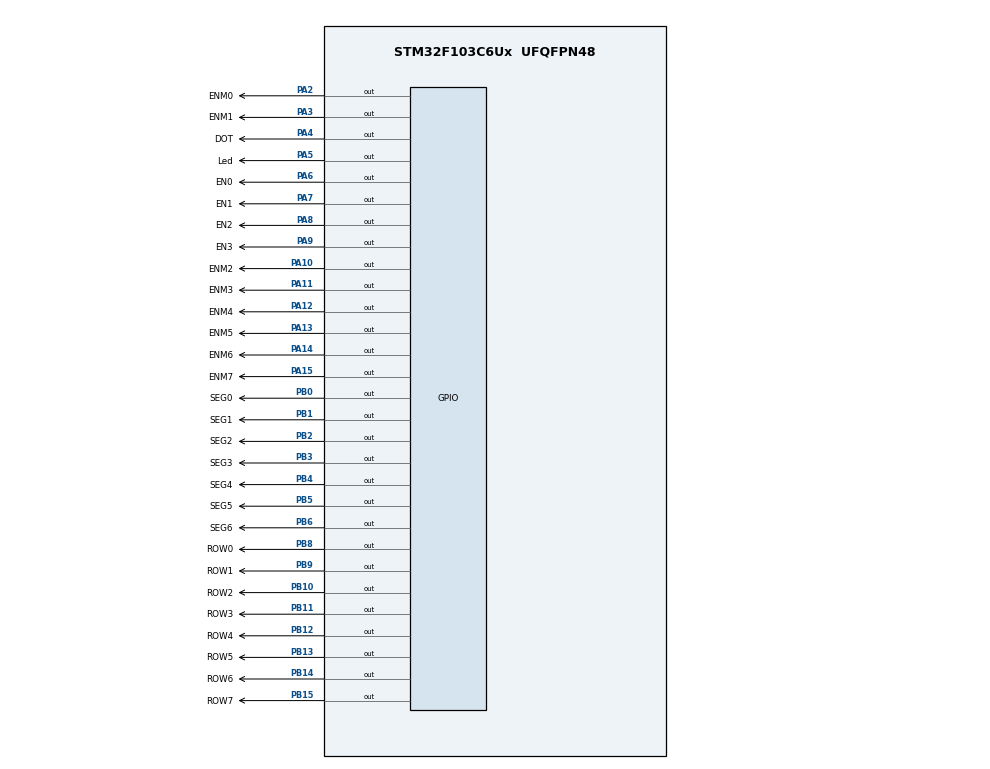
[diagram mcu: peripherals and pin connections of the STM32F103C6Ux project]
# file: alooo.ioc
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Mcu.Family=STM32F1
Mcu.Name=STM32F103C6Ux
Mcu.Package=UFQFPN48
NVIC.PriorityGroup=NVIC_PRIORITYGROUP_4
NVIC.TIM2_IRQn=true\:0\:0\:false\:false\:true\:true\:true
PA10.GPIO_Label=ENM2
PA10.Signal=GPIO_Output
PA11.GPIO_Label=ENM3
PA11.Signal=GPIO_Output
PA12.GPIO_Label=ENM4
PA12.Signal=GPIO_Output
PA13.GPIO_Label=ENM5
PA13.Signal=GPIO_Output
PA14.GPIO_Label=ENM6
PA14.Signal=GPIO_Output
PA15.GPIO_Label=ENM7
PA15.Signal=GPIO_Output
PA2.GPIO_Label=ENM0
PA2.Signal=GPIO_Output
PA3.GPIO_Label=ENM1
PA3.Signal=GPIO_Output
PA4.GPIO_Label=DOT
PA4.Signal=GPIO_Output
PA5.GPIO_Label=Led
PA5.Signal=GPIO_Output
PA6.GPIO_Label=EN0
PA6.Signal=GPIO_Output
PA7.GPIO_Label=EN1
PA7.Signal=GPIO_Output
PA8.GPIO_Label=EN2
PA8.Signal=GPIO_Output
PA9.GPIO_Label=EN3
PA9.Signal=GPIO_Output
PB0.GPIO_Label=SEG0
PB0.Signal=GPIO_Output
PB1.GPIO_Label=SEG1
PB1.Signal=GPIO_Output
PB10.GPIO_Label=ROW2
PB10.Signal=GPIO_Output
PB11.GPIO_Label=ROW3
PB11.Signal=GPIO_Output
PB12.GPIO_Label=ROW4
PB12.Signal=GPIO_Output
PB13.GPIO_Label=ROW5
PB13.Signal=GPIO_Output
PB14.GPIO_Label=ROW6
PB14.Signal=GPIO_Output
PB15.GPIO_Label=ROW7
PB15.Signal=GPIO_Output
PB2.GPIO_Label=SEG2
PB2.Signal=GPIO_Output
PB3.GPIO_Label=SEG3
PB3.Signal=GPIO_Output
PB4.GPIO_Label=SEG4
PB4.Signal=GPIO_Output
PB5.GPIO_Label=SEG5
PB5.Signal=GPIO_Output
PB6.GPIO_Label=SEG6
PB6.Signal=GPIO_Output
PB8.GPIO_Label=ROW0
PB8.Signal=GPIO_Output
PB9.GPIO_Label=ROW1
PB9.Signal=GPIO_Output
ProjectManager.HeapSize=0x200
ProjectManager.StackSize=0x400
ProjectManager.TargetToolchain=STM32CubeIDE
RCC.APB1Freq_Value=8000000
RCC.APB2Freq_Value=8000000
TIM2.Period=9
TIM2.Prescaler=7999
VP_SYS_VS_ND.Mode=No_Debug
VP_TIM2_VS_ClockSourceINT.Mode=Internal
board=custom

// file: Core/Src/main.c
/* USER CODE BEGIN Header */
/**
  ******************************************************************************
  * @file           : main.c
  * @brief          : Main program body
  ******************************************************************************
  * @attention
  *
  * <h2><center>&copy; Copyright (c) 2026 STMicroelectronics.
  * All rights reserved.</center></h2>
  *
  * This software component is licensed by ST under BSD 3-Clause license,
  * the "License"; You may not use this file except in compliance with the
  * License. You may obtain a copy of the License at:
  *                        opensource.org/licenses/BSD-3-Clause
  *
  ******************************************************************************
  */
/* USER CODE END Header */
#include "main.h"

TIM_HandleTypeDef htim2;

void SystemClock_Config(void);
static void MX_GPIO_Init(void);
static void MX_TIM2_Init(void);

/* USER CODE BEGIN 0 */

void display7SEG(int num) {
    HAL_GPIO_WritePin(SEG0_GPIO_Port, SEG0_Pin, GPIO_PIN_SET);
    HAL_GPIO_WritePin(SEG1_GPIO_Port, SEG1_Pin, GPIO_PIN_SET);
    HAL_GPIO_WritePin(SEG2_GPIO_Port, SEG2_Pin, GPIO_PIN_SET);
    HAL_GPIO_WritePin(SEG3_GPIO_Port, SEG3_Pin, GPIO_PIN_SET);
    HAL_GPIO_WritePin(SEG4_GPIO_Port, SEG4_Pin, GPIO_PIN_SET);
    HAL_GPIO_WritePin(SEG5_GPIO_Port, SEG5_Pin, GPIO_PIN_SET);
    HAL_GPIO_WritePin(SEG6_GPIO_Port, SEG6_Pin, GPIO_PIN_SET);

    switch (num) {
        case 0:
            HAL_GPIO_WritePin(SEG0_GPIO_Port, SEG0_Pin, GPIO_PIN_RESET);
            HAL_GPIO_WritePin(SEG1_GPIO_Port, SEG1_Pin, GPIO_PIN_RESET);
            HAL_GPIO_WritePin(SEG2_GPIO_Port, SEG2_Pin, GPIO_PIN_RESET);
            HAL_GPIO_WritePin(SEG3_GPIO_Port, SEG3_Pin, GPIO_PIN_RESET);
            HAL_GPIO_WritePin(SEG4_GPIO_Port, SEG4_Pin, GPIO_PIN_RESET);
            HAL_GPIO_WritePin(SEG5_GPIO_Port, SEG5_Pin, GPIO_PIN_RESET);
            break;

        case 1:
            HAL_GPIO_WritePin(SEG1_GPIO_Port, SEG1_Pin, GPIO_PIN_RESET);
            HAL_GPIO_WritePin(SEG2_GPIO_Port, SEG2_Pin, GPIO_PIN_RESET);
            break;

        case 2:
            HAL_GPIO_WritePin(SEG0_GPIO_Port, SEG0_Pin, GPIO_PIN_RESET);
            HAL_GPIO_WritePin(SEG1_GPIO_Port, SEG1_Pin, GPIO_PIN_RESET);
            HAL_GPIO_WritePin(SEG3_GPIO_Port, SEG3_Pin, GPIO_PIN_RESET);
            HAL_GPIO_WritePin(SEG4_GPIO_Port, SEG4_Pin, GPIO_PIN_RESET);
            HAL_GPIO_WritePin(SEG6_GPIO_Port, SEG6_Pin, GPIO_PIN_RESET);
            break;

        case 3:
            HAL_GPIO_WritePin(SEG0_GPIO_Port, SEG0_Pin, GPIO_PIN_RESET);
            HAL_GPIO_WritePin(SEG1_GPIO_Port, SEG1_Pin, GPIO_PIN_RESET);
            HAL_GPIO_WritePin(SEG2_GPIO_Port, SEG2_Pin, GPIO_PIN_RESET);
            HAL_GPIO_WritePin(SEG3_GPIO_Port, SEG3_Pin, GPIO_PIN_RESET);
            HAL_GPIO_WritePin(SEG6_GPIO_Port, SEG6_Pin, GPIO_PIN_RESET);
            break;

        case 4:
            HAL_GPIO_WritePin(SEG1_GPIO_Port, SEG1_Pin, GPIO_PIN_RESET);
            HAL_GPIO_WritePin(SEG2_GPIO_Port, SEG2_Pin, GPIO_PIN_RESET);
            HAL_GPIO_WritePin(SEG5_GPIO_Port, SEG5_Pin, GPIO_PIN_RESET);
            HAL_GPIO_WritePin(SEG6_GPIO_Port, SEG6_Pin, GPIO_PIN_RESET);
            break;

        case 5:
            HAL_GPIO_WritePin(SEG0_GPIO_Port, SEG0_Pin, GPIO_PIN_RESET);
            HAL_GPIO_WritePin(SEG2_GPIO_Port, SEG2_Pin, GPIO_PIN_RESET);
            HAL_GPIO_WritePin(SEG3_GPIO_Port, SEG3_Pin, GPIO_PIN_RESET);
            HAL_GPIO_WritePin(SEG5_GPIO_Port, SEG5_Pin, GPIO_PIN_RESET);
            HAL_GPIO_WritePin(SEG6_GPIO_Port, SEG6_Pin, GPIO_PIN_RESET);
            break;

        case 6:
            HAL_GPIO_WritePin(SEG0_GPIO_Port, SEG0_Pin, GPIO_PIN_RESET);
            HAL_GPIO_WritePin(SEG2_GPIO_Port, SEG2_Pin, GPIO_PIN_RESET);
            HAL_GPIO_WritePin(SEG3_GPIO_Port, SEG3_Pin, GPIO_PIN_RESET);
            HAL_GPIO_WritePin(SEG4_GPIO_Port, SEG4_Pin, GPIO_PIN_RESET);
            HAL_GPIO_WritePin(SEG5_GPIO_Port, SEG5_Pin, GPIO_PIN_RESET);
            HAL_GPIO_WritePin(SEG6_GPIO_Port, SEG6_Pin, GPIO_PIN_RESET);
            break;

        case 7:
            HAL_GPIO_WritePin(SEG0_GPIO_Port, SEG0_Pin, GPIO_PIN_RESET);
            HAL_GPIO_WritePin(SEG1_GPIO_Port, SEG1_Pin, GPIO_PIN_RESET);
            HAL_GPIO_WritePin(SEG2_GPIO_Port, SEG2_Pin, GPIO_PIN_RESET);
            break;

        case 8:
            HAL_GPIO_WritePin(SEG0_GPIO_Port, SEG0_Pin, GPIO_PIN_RESET);
            HAL_GPIO_WritePin(SEG1_GPIO_Port, SEG1_Pin, GPIO_PIN_RESET);
            HAL_GPIO_WritePin(SEG2_GPIO_Port, SEG2_Pin, GPIO_PIN_RESET);
            HAL_GPIO_WritePin(SEG3_GPIO_Port, SEG3_Pin, GPIO_PIN_RESET);
            HAL_GPIO_WritePin(SEG4_GPIO_Port, SEG4_Pin, GPIO_PIN_RESET);
            HAL_GPIO_WritePin(SEG5_GPIO_Port, SEG5_Pin, GPIO_PIN_RESET);
            HAL_GPIO_WritePin(SEG6_GPIO_Port, SEG6_Pin, GPIO_PIN_RESET);
            break;

        case 9:
            HAL_GPIO_WritePin(SEG0_GPIO_Port, SEG0_Pin, GPIO_PIN_RESET);
            HAL_GPIO_WritePin(SEG1_GPIO_Port, SEG1_Pin, GPIO_PIN_RESET);
            HAL_GPIO_WritePin(SEG2_GPIO_Port, SEG2_Pin, GPIO_PIN_RESET);
            HAL_GPIO_WritePin(SEG3_GPIO_Port, SEG3_Pin, GPIO_PIN_RESET);
            HAL_GPIO_WritePin(SEG5_GPIO_Port, SEG5_Pin, GPIO_PIN_RESET);
            HAL_GPIO_WritePin(SEG6_GPIO_Port, SEG6_Pin, GPIO_PIN_RESET);
            break;

        default:
            break;
    }
}

const int MAX_LED = 4;
int index_led = 0;
int led_buffer[4] = {0, 0, 0, 0};

void update7SEG(int index) {
	HAL_GPIO_WritePin(EN0_GPIO_Port, EN0_Pin, GPIO_PIN_SET);
	HAL_GPIO_WritePin(EN1_GPIO_Port, EN1_Pin, GPIO_PIN_SET);
	HAL_GPIO_WritePin(EN2_GPIO_Port, EN2_Pin, GPIO_PIN_SET);
	HAL_GPIO_WritePin(EN3_GPIO_Port, EN3_Pin, GPIO_PIN_SET);
    switch (index) {
        case 0:
            display7SEG(led_buffer[0]);
            HAL_GPIO_WritePin(EN0_GPIO_Port, EN0_Pin, GPIO_PIN_RESET);
            break;
        case 1:
            display7SEG(led_buffer[1]);
            HAL_GPIO_WritePin(EN1_GPIO_Port, EN1_Pin, GPIO_PIN_RESET);
            break;
        case 2:
            display7SEG(led_buffer[2]);
            HAL_GPIO_WritePin(EN2_GPIO_Port, EN2_Pin, GPIO_PIN_RESET);
            break;
        case 3:
            display7SEG(led_buffer[3]);
            HAL_GPIO_WritePin(EN3_GPIO_Port, EN3_Pin, GPIO_PIN_RESET);
            break;
        default:
            break;
    }
}

const int MAX_LED_MATRIX = 8;
int index_led_matrix = 0;
uint8_t matrix_buffer[8] = {0x3C, 0x42, 0x42, 0x81, 0x81, 0xFF, 0x81, 0x81};

void setRow(int col){
	HAL_GPIO_WritePin(ROW0_GPIO_Port, ROW0_Pin, (matrix_buffer[col] & 0x01) ? GPIO_PIN_RESET : GPIO_PIN_SET);
	HAL_GPIO_WritePin(ROW1_GPIO_Port, ROW1_Pin, (matrix_buffer[col] & 0x02) ? GPIO_PIN_RESET : GPIO_PIN_SET);
	HAL_GPIO_WritePin(ROW2_GPIO_Port, ROW2_Pin, (matrix_buffer[col] & 0x04) ? GPIO_PIN_RESET : GPIO_PIN_SET);
	HAL_GPIO_WritePin(ROW3_GPIO_Port, ROW3_Pin, (matrix_buffer[col] & 0x08) ? GPIO_PIN_RESET : GPIO_PIN_SET);
	HAL_GPIO_WritePin(ROW4_GPIO_Port, ROW4_Pin, (matrix_buffer[col] & 0x10) ? GPIO_PIN_RESET : GPIO_PIN_SET);
	HAL_GPIO_WritePin(ROW5_GPIO_Port, ROW5_Pin, (matrix_buffer[col] & 0x20) ? GPIO_PIN_RESET : GPIO_PIN_SET);
	HAL_GPIO_WritePin(ROW6_GPIO_Port, ROW6_Pin, (matrix_buffer[col] & 0x40) ? GPIO_PIN_RESET : GPIO_PIN_SET);
	HAL_GPIO_WritePin(ROW7_GPIO_Port, ROW7_Pin, (matrix_buffer[col] & 0x80) ? GPIO_PIN_RESET : GPIO_PIN_SET);
}

void updateLEDMatrix(int index){
	HAL_GPIO_WritePin(ENM0_GPIO_Port, ENM0_Pin, GPIO_PIN_SET);
	HAL_GPIO_WritePin(ENM1_GPIO_Port, ENM1_Pin, GPIO_PIN_SET);
	HAL_GPIO_WritePin(ENM2_GPIO_Port, ENM2_Pin, GPIO_PIN_SET);
	HAL_GPIO_WritePin(ENM3_GPIO_Port, ENM3_Pin, GPIO_PIN_SET);
	HAL_GPIO_WritePin(ENM4_GPIO_Port, ENM4_Pin, GPIO_PIN_SET);
	HAL_GPIO_WritePin(ENM5_GPIO_Port, ENM5_Pin, GPIO_PIN_SET);
	HAL_GPIO_WritePin(ENM6_GPIO_Port, ENM6_Pin, GPIO_PIN_SET);
	HAL_GPIO_WritePin(ENM7_GPIO_Port, ENM7_Pin, GPIO_PIN_SET);

	setRow(index);

	switch (index) {
		case 0: HAL_GPIO_WritePin(ENM0_GPIO_Port, ENM0_Pin, GPIO_PIN_RESET); break;
		case 1: HAL_GPIO_WritePin(ENM1_GPIO_Port, ENM1_Pin, GPIO_PIN_RESET); break;
		case 2: HAL_GPIO_WritePin(ENM2_GPIO_Port, ENM2_Pin, GPIO_PIN_RESET); break;
		case 3: HAL_GPIO_WritePin(ENM3_GPIO_Port, ENM3_Pin, GPIO_PIN_RESET); break;
		case 4: HAL_GPIO_WritePin(ENM4_GPIO_Port, ENM4_Pin, GPIO_PIN_RESET); break;
		case 5: HAL_GPIO_WritePin(ENM5_GPIO_Port, ENM5_Pin, GPIO_PIN_RESET); break;
		case 6: HAL_GPIO_WritePin(ENM6_GPIO_Port, ENM6_Pin, GPIO_PIN_RESET); break;
		case 7: HAL_GPIO_WritePin(ENM7_GPIO_Port, ENM7_Pin, GPIO_PIN_RESET); break;
		default: break;
	}
}

int hour = 9;
int minute = 59;
int second = 55;

void updateClockBuffer() {
    led_buffer[0] = hour / 10;
    led_buffer[1] = hour % 10;
    led_buffer[2] = minute / 10;
    led_buffer[3] = minute % 10;
}

int timer0_counter = 0;
int timer0_flag = 0;
int TIMER_CYCLE = 10;

void setTimer0(int duration) {
    timer0_counter = duration / TIMER_CYCLE;
    timer0_flag = 0;
}

int timer1_counter = 0;
int timer1_flag = 0;

void setTimer1(int duration) {
    timer1_counter = duration / TIMER_CYCLE;
    timer1_flag = 0;
}

int timer2_counter = 0;
int timer2_flag = 0;

void setTimer2(int duration) {
    timer2_counter = duration / TIMER_CYCLE;
    timer2_flag = 0;
}

void timer_run() {
    if (timer0_counter > 0) {
        timer0_counter--;
        if (timer0_counter == 0) {
            timer0_flag = 1;
        }
    }

    if (timer1_counter > 0) {
		timer1_counter--;
		if (timer1_counter == 0) {
			timer1_flag = 1;
		}
	}

    if (timer2_counter > 0) {
		timer2_counter--;
		if (timer2_counter == 0) {
			timer2_flag = 1;
		}
	}
}

/* USER CODE END 0 */

int main(void)
{

  /* MCU Configuration--------------------------------------------------------*/

  /* Reset of all peripherals, Initializes the Flash interface and the Systick. */
  HAL_Init();

  /* Configure the system clock */
  SystemClock_Config();

  /* Initialize all configured peripherals */
  MX_GPIO_Init();
  MX_TIM2_Init();
  /* USER CODE BEGIN 2 */
  HAL_TIM_Base_Start_IT(&htim2);
  setTimer0(1000);
  setTimer1(250);
  setTimer2(10);
  updateClockBuffer();
  /* USER CODE END 2 */

  /* Infinite loop */
  while (1)
  {

    /* USER CODE BEGIN 3 */

	if (timer0_flag == 1) {
		setTimer0(1000);
		HAL_GPIO_TogglePin(DOT_GPIO_Port, DOT_Pin);

		second++;
		if (second >= 60) {
			second = 0;
			minute++;
		}
		if (minute >= 60) {
			minute = 0;
			hour++;
		}
		if (hour >= 24) {
			hour = 0;
		}
		updateClockBuffer();
	}

	if(timer1_flag == 1){
		setTimer1(250);
		update7SEG(index_led++);

		if (index_led >= MAX_LED) index_led = 0;
	}

	if(timer2_flag == 1){
		setTimer2(10);
		updateLEDMatrix(index_led_matrix++);

		if(index_led_matrix >= MAX_LED_MATRIX) index_led_matrix = 0;
	}
  }
  /* USER CODE END 3 */
}

void SystemClock_Config(void)
{
  RCC_OscInitTypeDef RCC_OscInitStruct = {0};
  RCC_ClkInitTypeDef RCC_ClkInitStruct = {0};

  /** Initializes the RCC Oscillators according to the specified parameters
  * in the RCC_OscInitTypeDef structure.
  */
  RCC_OscInitStruct.OscillatorType = RCC_OSCILLATORTYPE_HSI;
  RCC_OscInitStruct.HSIState = RCC_HSI_ON;
  RCC_OscInitStruct.HSICalibrationValue = RCC_HSICALIBRATION_DEFAULT;
  RCC_OscInitStruct.PLL.PLLState = RCC_PLL_NONE;
  if (HAL_RCC_OscConfig(&RCC_OscInitStruct) != HAL_OK)
  {
    Error_Handler();
  }
  /** Initializes the CPU, AHB and APB buses clocks
  */
  RCC_ClkInitStruct.ClockType = RCC_CLOCKTYPE_HCLK|RCC_CLOCKTYPE_SYSCLK
                              |RCC_CLOCKTYPE_PCLK1|RCC_CLOCKTYPE_PCLK2;
  RCC_ClkInitStruct.SYSCLKSource = RCC_SYSCLKSOURCE_HSI;
  RCC_ClkInitStruct.AHBCLKDivider = RCC_SYSCLK_DIV1;
  RCC_ClkInitStruct.APB1CLKDivider = RCC_HCLK_DIV1;
  RCC_ClkInitStruct.APB2CLKDivider = RCC_HCLK_DIV1;

  if (HAL_RCC_ClockConfig(&RCC_ClkInitStruct, FLASH_LATENCY_0) != HAL_OK)
  {
    Error_Handler();
  }
}

static void MX_TIM2_Init(void)
{

  TIM_ClockConfigTypeDef sClockSourceConfig = {0};
  TIM_MasterConfigTypeDef sMasterConfig = {0};

  htim2.Instance = TIM2;
  htim2.Init.Prescaler = 7999;
  htim2.Init.CounterMode = TIM_COUNTERMODE_UP;
  htim2.Init.Period = 9;
  htim2.Init.ClockDivision = TIM_CLOCKDIVISION_DIV1;
  htim2.Init.AutoReloadPreload = TIM_AUTORELOAD_PRELOAD_DISABLE;
  if (HAL_TIM_Base_Init(&htim2) != HAL_OK)
  {
    Error_Handler();
  }
  sClockSourceConfig.ClockSource = TIM_CLOCKSOURCE_INTERNAL;
  if (HAL_TIM_ConfigClockSource(&htim2, &sClockSourceConfig) != HAL_OK)
  {
    Error_Handler();
  }
  sMasterConfig.MasterOutputTrigger = TIM_TRGO_RESET;
  sMasterConfig.MasterSlaveMode = TIM_MASTERSLAVEMODE_DISABLE;
  if (HAL_TIMEx_MasterConfigSynchronization(&htim2, &sMasterConfig) != HAL_OK)
  {
    Error_Handler();
  }

}

static void MX_GPIO_Init(void)
{
  GPIO_InitTypeDef GPIO_InitStruct = {0};

  /* GPIO Ports Clock Enable */
  __HAL_RCC_GPIOA_CLK_ENABLE();
  __HAL_RCC_GPIOB_CLK_ENABLE();

  /*Configure GPIO pin Output Level */
  HAL_GPIO_WritePin(GPIOA, ENM0_Pin|ENM1_Pin|DOT_Pin|Led_Pin
                          |EN0_Pin|EN1_Pin|EN2_Pin|EN3_Pin
                          |ENM2_Pin|ENM3_Pin|ENM4_Pin|ENM5_Pin
                          |ENM6_Pin|ENM7_Pin, GPIO_PIN_RESET);

  /*Configure GPIO pin Output Level */
  HAL_GPIO_WritePin(GPIOB, SEG0_Pin|SEG1_Pin|SEG2_Pin|ROW2_Pin
                          |ROW3_Pin|ROW4_Pin|ROW5_Pin|ROW6_Pin
                          |ROW7_Pin|SEG3_Pin|SEG4_Pin|SEG5_Pin
                          |SEG6_Pin|ROW0_Pin|ROW1_Pin, GPIO_PIN_RESET);

  /*Configure GPIO pins : ENM0_Pin ENM1_Pin DOT_Pin Led_Pin
                           EN0_Pin EN1_Pin EN2_Pin EN3_Pin
                           ENM2_Pin ENM3_Pin ENM4_Pin ENM5_Pin
                           ENM6_Pin ENM7_Pin */
  GPIO_InitStruct.Pin = ENM0_Pin|ENM1_Pin|DOT_Pin|Led_Pin
                          |EN0_Pin|EN1_Pin|EN2_Pin|EN3_Pin
                          |ENM2_Pin|ENM3_Pin|ENM4_Pin|ENM5_Pin
                          |ENM6_Pin|ENM7_Pin;
  GPIO_InitStruct.Mode = GPIO_MODE_OUTPUT_PP;
  GPIO_InitStruct.Pull = GPIO_NOPULL;
  GPIO_InitStruct.Speed = GPIO_SPEED_FREQ_LOW;
  HAL_GPIO_Init(GPIOA, &GPIO_InitStruct);

  /*Configure GPIO pins : SEG0_Pin SEG1_Pin SEG2_Pin ROW2_Pin
                           ROW3_Pin ROW4_Pin ROW5_Pin ROW6_Pin
                           ROW7_Pin SEG3_Pin SEG4_Pin SEG5_Pin
                           SEG6_Pin ROW0_Pin ROW1_Pin */
  GPIO_InitStruct.Pin = SEG0_Pin|SEG1_Pin|SEG2_Pin|ROW2_Pin
                          |ROW3_Pin|ROW4_Pin|ROW5_Pin|ROW6_Pin
                          |ROW7_Pin|SEG3_Pin|SEG4_Pin|SEG5_Pin
                          |SEG6_Pin|ROW0_Pin|ROW1_Pin;
  GPIO_InitStruct.Mode = GPIO_MODE_OUTPUT_PP;
  GPIO_InitStruct.Pull = GPIO_NOPULL;
  GPIO_InitStruct.Speed = GPIO_SPEED_FREQ_LOW;
  HAL_GPIO_Init(GPIOB, &GPIO_InitStruct);

}

/* USER CODE BEGIN 4 */

void HAL_TIM_PeriodElapsedCallback(TIM_HandleTypeDef *htim)
{
	timer_run();
}
/* USER CODE END 4 */

void Error_Handler(void)
{
  __disable_irq();
  while (1)
  {
  }
}

/************************ (C) COPYRIGHT STMicroelectronics *****END OF FILE****/
